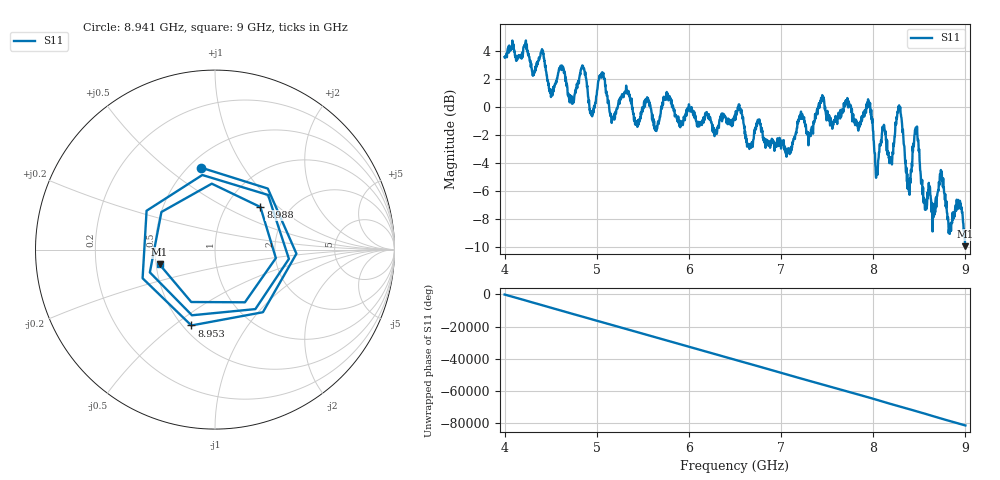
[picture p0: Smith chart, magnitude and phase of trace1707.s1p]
! Created with skrf 1.8.0 (http://scikit-rf.org).
# Hz S RI R 50.0
!freq ReS11 ImS11
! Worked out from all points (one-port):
!   1601 points, 4 GHz to 9 GHz, reference 50 ohm
!   lowest |S11| = -9.9 dB at 9 GHz (marker M1), VSWR 1.94, Z = 26.1 - j4.83 ohm
!   |S11| at or under -10 dB: nowhere
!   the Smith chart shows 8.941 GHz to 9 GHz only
!   S11 on the Smith chart (normalised r, x): 8.941 GHz: 0.57, +0.67; 8.953 GHz: 0.55, -0.58; 8.988 GHz: 1.43, +0.77; 9 GHz: 0.52, -0.10
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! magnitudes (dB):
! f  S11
! 4 GHz  3.6
! 4.409 GHz  3.9
! 4.506 GHz  1.0
! 4.625 GHz  2.9
! 4.731 GHz  0.3
! 4.853 GHz  2.8
! 4.944 GHz  -0.5
! 5.05 GHz  2.4
! 5.162 GHz  -1.1
! 5.25 GHz  0.6
! 5.875 GHz  -1.0
! 6.5 GHz  -0.5
! 7.125 GHz  -2.6
! 7.444 GHz  0.6
! 7.75 GHz  0.0
! 7.953 GHz  0.0
! 8.041 GHz  -4.5
! 8.109 GHz  -1.5
! 8.194 GHz  -3.9
! 8.288 GHz  0.0
! 8.375 GHz  -5.2
! 8.466 GHz  -1.7
! 8.559 GHz  -7.0
! 8.738 GHz  -4.7
! 8.941 GHz  -6.7
! 8.953 GHz  -7.1
! 8.988 GHz  -9.2
! 9 GHz  -9.9
